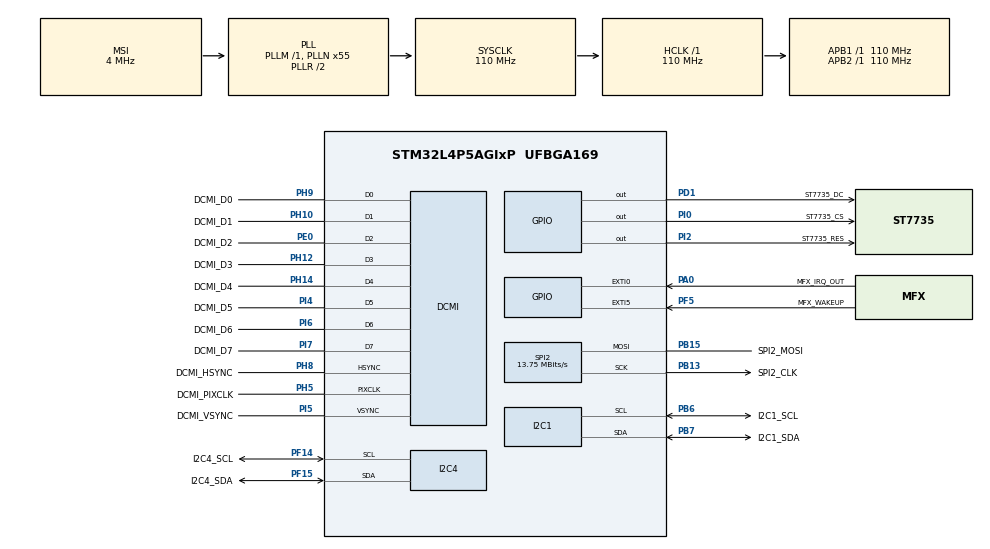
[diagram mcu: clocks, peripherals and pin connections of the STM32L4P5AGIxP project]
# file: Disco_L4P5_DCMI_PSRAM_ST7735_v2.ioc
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DCMI.HSPolarity=DCMI_HSPOLARITY_HIGH
DCMI.PCKPolarity=DCMI_PCKPOLARITY_RISING
DCMI.VSPolarity=DCMI_VSPOLARITY_HIGH
Dma.DCMI.1.Direction=DMA_PERIPH_TO_MEMORY
Dma.DCMI.1.EventEnable=DISABLE
Dma.DCMI.1.Instance=DMA2_Channel6
Dma.DCMI.1.MemDataAlignment=DMA_MDATAALIGN_WORD
Dma.DCMI.1.MemInc=DMA_MINC_ENABLE
Dma.DCMI.1.Mode=DMA_NORMAL
Dma.DCMI.1.PeriphDataAlignment=DMA_PDATAALIGN_WORD
Dma.DCMI.1.PeriphInc=DMA_PINC_DISABLE
Dma.DCMI.1.Polarity=HAL_DMAMUX_REQ_GEN_RISING
Dma.DCMI.1.Priority=DMA_PRIORITY_HIGH
Dma.DCMI.1.RequestNumber=1
Dma.DCMI.1.SignalID=NONE
Dma.DCMI.1.SyncEnable=DISABLE
Dma.DCMI.1.SyncPolarity=HAL_DMAMUX_SYNC_NO_EVENT
Dma.DCMI.1.SyncRequestNumber=1
Dma.DCMI.1.SyncSignalID=NONE
Dma.MEMTOMEM.0.Direction=DMA_MEMORY_TO_MEMORY
Dma.MEMTOMEM.0.EventEnable=DISABLE
Dma.MEMTOMEM.0.Instance=DMA1_Channel1
Dma.MEMTOMEM.0.MemDataAlignment=DMA_MDATAALIGN_BYTE
Dma.MEMTOMEM.0.MemInc=DMA_MINC_ENABLE
Dma.MEMTOMEM.0.Mode=DMA_NORMAL
Dma.MEMTOMEM.0.PeriphDataAlignment=DMA_PDATAALIGN_BYTE
Dma.MEMTOMEM.0.PeriphInc=DMA_PINC_ENABLE
Dma.MEMTOMEM.0.Polarity=HAL_DMAMUX_REQ_GEN_RISING
Dma.MEMTOMEM.0.Priority=DMA_PRIORITY_HIGH
Dma.MEMTOMEM.0.RequestNumber=1
Dma.MEMTOMEM.0.SignalID=NONE
Dma.MEMTOMEM.0.SyncEnable=DISABLE
Dma.MEMTOMEM.0.SyncPolarity=HAL_DMAMUX_SYNC_NO_EVENT
Dma.MEMTOMEM.0.SyncRequestNumber=1
Dma.MEMTOMEM.0.SyncSignalID=NONE
Dma.Request0=MEMTOMEM
Dma.Request1=DCMI
I2C1.Timing=0x40505681
I2C4.Timing=0x40505681
Mcu.Family=STM32L4
Mcu.Name=STM32L4P5AGIxP
Mcu.Package=UFBGA169
NVIC.DCMI_PSSI_IRQn=true\:0\:0\:false\:false\:true\:true\:true\:true
NVIC.DMA1_Channel1_IRQn=true\:0\:0\:false\:false\:true\:true\:true\:true
NVIC.DMA2_Channel6_IRQn=true\:0\:0\:false\:false\:true\:false\:true\:true
NVIC.PriorityGroup=NVIC_PRIORITYGROUP_4
PA0.GPIO_Label=MFX_IRQ_OUT
PA0.Signal=GPXTI0
PA13\ (JTMS/SWDIO).Mode=Serial_Wire
PA13\ (JTMS/SWDIO).Signal=SYS_JTMS-SWDIO
PA14\ (JTCK/SWCLK).Mode=Serial_Wire
PA14\ (JTCK/SWCLK).Signal=SYS_JTCK-SWCLK
PB13.GPIO_Label=SPI2_CLK
PB13.Mode=Simplex_Bidirectional_Master
PB13.Signal=SPI2_SCK
PB15.GPIO_Label=SPI2_MOSI
PB15.Mode=Simplex_Bidirectional_Master
PB15.Signal=SPI2_MOSI
PB6.GPIO_Label=I2C1_SCL
PB6.Mode=I2C
PB6.Signal=I2C1_SCL
PB7.GPIO_Label=I2C1_SDA
PB7.Mode=I2C
PB7.Signal=I2C1_SDA
PD1.GPIO_Label=ST7735_DC
PD1.Signal=GPIO_Output
PE0.GPIO_Label=DCMI_D2
PE0.Mode=Slave_8_bits_External_Synchro
PE0.Signal=DCMI_D2
PF14.GPIO_Label=I2C4_SCL
PF14.Mode=I2C
PF14.Signal=I2C4_SCL
PF15.GPIO_Label=I2C4_SDA
PF15.Mode=I2C
PF15.Signal=I2C4_SDA
PF5.GPIO_Label=MFX_WAKEUP
PF5.Signal=GPXTI5
PH10.GPIO_Label=DCMI_D1
PH10.Mode=Slave_8_bits_External_Synchro
PH10.Signal=DCMI_D1
PH12.GPIO_Label=DCMI_D3
PH12.Mode=Slave_8_bits_External_Synchro
PH12.Signal=DCMI_D3
PH14.GPIO_Label=DCMI_D4
PH14.Mode=Slave_8_bits_External_Synchro
PH14.Signal=DCMI_D4
PH5.GPIO_Label=DCMI_PIXCLK
PH5.Mode=Slave_8_bits_External_Synchro
PH5.Signal=DCMI_PIXCLK
PH8.GPIO_Label=DCMI_HSYNC
PH8.Mode=Slave_8_bits_External_Synchro
PH8.Signal=DCMI_HSYNC
PH9.GPIO_Label=DCMI_D0
PH9.Mode=Slave_8_bits_External_Synchro
PH9.Signal=DCMI_D0
PI0.GPIO_Label=ST7735_CS
PI0.Signal=GPIO_Output
PI2.GPIO_Label=ST7735_RES
PI2.Signal=GPIO_Output
PI3.GPIO_Label=DCMI_D10
PI3.Signal=DCMI_D10
PI4.GPIO_Label=DCMI_D5
PI4.Mode=Slave_8_bits_External_Synchro
PI4.Signal=DCMI_D5
PI5.GPIO_Label=DCMI_VSYNC
PI5.Mode=Slave_8_bits_External_Synchro
PI5.Signal=DCMI_VSYNC
PI6.GPIO_Label=DCMI_D6
PI6.Mode=Slave_8_bits_External_Synchro
PI6.Signal=DCMI_D6
PI7.GPIO_Label=DCMI_D7
PI7.Mode=Slave_8_bits_External_Synchro
PI7.Signal=DCMI_D7
ProjectManager.HeapSize=0x200
ProjectManager.StackSize=0x400
ProjectManager.TargetToolchain=STM32CubeIDE
RCC.ADCFreq_Value=110000000
RCC.AHBFreq_Value=110000000
RCC.APB1Freq_Value=110000000
RCC.APB1TimFreq_Value=110000000
RCC.APB2Freq_Value=110000000
RCC.APB2TimFreq_Value=110000000
RCC.CK48CLockSelection=RCC_USBCLKSOURCE_HSI48
RCC.CortexFreq_Value=110000000
RCC.HCLKFreq_Value=110000000
RCC.HSE_VALUE=24000000
RCC.HSI48_VALUE=48000000
RCC.HSI_VALUE=16000000
RCC.LSE_VALUE=32768
RCC.MSI_VALUE=4000000
RCC.PLLN=55
RCC.PLLP=RCC_PLLP_DIV7
RCC.PLLSAI1N=55
RCC.PLLSAI1P=RCC_PLLP_DIV7
RCC.PLLSAI2N=55
RCC.SYSCLKFreq_VALUE=110000000
RCC.SYSCLKSource=RCC_SYSCLKSOURCE_PLLCLK
RCC.USBFreq_Value=48000000
RCC.VCOOutputFreq_Value=220000000
SPI2.BaudRatePrescaler=SPI_BAUDRATEPRESCALER_8
SPI2.CalculateBaudRate=13.75 MBits/s
SPI2.DataSize=SPI_DATASIZE_8BIT
SPI2.Direction=SPI_DIRECTION_1LINE
SPI2.Mode=SPI_MODE_MASTER
SPI2.VirtualType=VM_MASTER
board=STM32L4P5G-DK

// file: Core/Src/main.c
/* USER CODE BEGIN Header */
/*
 *
Table 8. CN1 STMod+ connector pinout
Pin number Description Pin number Description
1   SPI1_NSS/USART3_CTS (PG5/PD11)      11  INT (PD10)
2   SPI1_MOSI/ USART3_TX (PG4/PD8)      12  RESET (PF11)
3   SPI1_MISO/ USART3_RX (PG3/PD9)      13  ADC (PA5)
4   SPI1_SCK/ USART3_RTS (PG2/PD12)     14  PWM (PG11)
5   GND                                 15 5V
6   5V                                  16 GND
7   I2C4_SCL (PF14)                     17 DFSDM1-CKOUT (PF10)
8   SPI1_MOSIs (PE15)                   18 DFSDM1- DATIN1 (PB12)
9   SPI1_MISOs (PE14)                   19 GPIO3 (PD0)
10  I2C4_SDA (PF15)                     20 GPIO4 (PD1)

It is SPI but with a single bidirectional pin e.g.
LED backlight, sometimes called BL. (it might be LED anode or cathode)
SDA bidirectional data pin. Connect to MOSI
SCK clock. sometimes called SCLK, SCL, ...
A0 data/command GPIO OUTPUT pin. sometimes called DC, RS, ...
RESET reset pin. you must connect. (or pullup)
CS chip select

ST7735 LCD SPI interface max baudrate is 15MHz for write and 6.66MHz for read
Since the provided driver doesn't use read capability from LCD, only constraint
on write baudrate is considered.

 */
/**
  ******************************************************************************
  * @file           : main.c
  * @brief          : Main program body
  ******************************************************************************
  * @attention
  *
  * Copyright (c) 2023 STMicroelectronics.
  * All rights reserved.
  *
  * This software is licensed under terms that can be found in the LICENSE file
  * in the root directory of this software component.
  * If no LICENSE file comes with this software, it is provided AS-IS.
  *
  ******************************************************************************
  */
/* USER CODE END Header */
#include "main.h"

/* USER CODE BEGIN Includes */
#include <stdio.h>
#include <string.h>
#include "st7735.h"
#include "fonts.h"
#include "testimg.h"
/* USER CODE END Includes */

/* USER CODE BEGIN PD */
#define USE_SRAM
//#define  CAMERA_WIDTH    ((uint16_t)320)
//#define  CAMERA_HEIGHT   ((uint16_t)240)

#define  CAMERA_WIDTH    ((uint16_t)160)
#define  CAMERA_HEIGHT   ((uint16_t)120)
/* USER CODE END PD */

DCMI_HandleTypeDef hdcmi;
DMA_HandleTypeDef hdma_dcmi;

I2C_HandleTypeDef hi2c1;
I2C_HandleTypeDef hi2c4;

SPI_HandleTypeDef hspi2;

DMA_HandleTypeDef hdma_memtomem_dma1_channel1;
/* USER CODE BEGIN PV */
extern DCMI_HandleTypeDef hDcmiHandler;
static volatile uint32_t start_the_camera_capture = 0;
uint16_t pBuffer[CAMERA_WIDTH * CAMERA_HEIGHT];

/* Buffer used for transmission */
uint8_t aTxBuffer[] = " ****Memory-mapped OSPI communication****  ****Memory-mapped OSPI communication****  ****Memory-mapped OSPI communication****  ****Memory-mapped OSPI communication****  ****Memory-mapped OSPI communication****  ****Memory-mapped OSPI communication**** ";

uint8_t reg[2];

uint32_t address = 0;
__IO uint8_t *mem_addr;
uint32_t delay, calibration_ongoing, test_failed;

static __IO uint32_t transferErrorDetected;    /* Set to 1 if an error transfer is detected */
static __IO uint32_t transferCompleteDetected; /* Set to 1 if transfer is correctly completed */

HAL_StatusTypeDef hal_status = HAL_OK;

static SPI_HandleTypeDef hdisco_Spi;
/* USER CODE END PV */

void SystemClock_Config(void);
static void MX_GPIO_Init(void);
static void MX_DMA_Init(void);
static void MX_I2C1_Init(void);
static void MX_I2C4_Init(void);
static void MX_SPI2_Init(void);
static void MX_DCMI_Init(void);
/* USER CODE BEGIN PFP */

static void TransferComplete(DMA_HandleTypeDef *DmaHandle);
static void TransferError(DMA_HandleTypeDef *DmaHandle);
static void OnError_Handler(uint32_t condition);

static void SPIx_Init(void);
static void SPIx_WriteReadData(const uint8_t *DataIn, uint8_t *DataOut, uint16_t DataLength);
static void SPIx_Write(uint8_t Value);
void LCD_Delay(uint32_t Delay);

/* USER CODE END PFP */

/* USER CODE BEGIN 0 */
// UART2 is connected to st-link
//int _write(int file, char *ptr, int len)
//{
//	HAL_UART_Transmit(&huart2,(uint8_t *)ptr,len,10);
//	return len;
//}
/* USER CODE END 0 */

int main(void)
{

  /* MCU Configuration--------------------------------------------------------*/

  /* Reset of all peripherals, Initializes the Flash interface and the Systick. */
  HAL_Init();

  /* Configure the system clock */
  SystemClock_Config();

  /* Initialize all configured peripherals */
  MX_GPIO_Init();
  MX_DMA_Init();
  MX_I2C1_Init();
  MX_I2C4_Init();
  MX_SPI2_Init();
  MX_DCMI_Init();
  /* USER CODE BEGIN 2 */
  MX_GPIO_Init();
  MX_SPI2_Init();
  ST7735_Init();

	ST7735_FillScreen(ST7735_BLACK);

//  BSP_LCD_Init();
//  uint32_t XSize= BSP_LCD_GetXSize();
//  uint32_t YSize= BSP_LCD_GetYSize();
//
//  BSP_LCD_DrawPixel(0, 0, LCD_RGB565_COLOR_RED);
//
//  BSP_LCD_SetBackColor(LCD_RGB565_COLOR_LIGHTBLUE);
//  BSP_LCD_SetTextColor(LCD_RGB565_COLOR_RED);
//  BSP_LCD_FillRect(0, 0, 100, 100);

  /*##-2- Initialize the LCD #################################################*/
   /*##-1- LEDs initialization  #################################################*/
   BSP_LED_Init(LED2);
   BSP_LED_Init(LED1);

   /* Initialize the IO functionalities */
   hal_status = BSP_IO_Init();
   OnError_Handler(hal_status != HAL_OK);

   hal_status = BSP_IO_ConfigPin(IO_PIN_3, IO_MODE_OUTPUT);
   OnError_Handler(hal_status != HAL_OK);

   BSP_IO_WritePin(IO_PIN_3, BSP_IO_PIN_SET);
   HAL_Delay(100);

   hal_status = BSP_IO_ConfigPin(IO_PIN_7, IO_MODE_INPUT);
   OnError_Handler(hal_status != HAL_OK);

   uint32_t val= BSP_IO_ReadPin(IO_PIN_7);
   printf("plugged %lu\n", val);

#define CAM
#ifdef CAM
	/*##-3- Camera Initialization ############################*/
	/* Initialize the Camera in QQVGA mode */
	hal_status = BSP_CAMERA_Init(CAMERA_R160x120);
	OnError_Handler(hal_status != HAL_OK);

	/* Wait 1s to let auto-loops in the camera module converge and lead to correct exposure */
	HAL_Delay(1000);

	/*##-4- Camera Continuous capture start in QVGA resolution ############################*/
	/* Disable unwanted HSYNC (IT_LINE)/VSYNC interrupts */
	__HAL_DCMI_DISABLE_IT(&hDcmiHandler, DCMI_IT_LINE | DCMI_IT_VSYNC);

	hal_status = HAL_DCMI_Start_DMA(&hDcmiHandler, DCMI_MODE_SNAPSHOT,  (uint32_t)(pBuffer) , CAMERA_WIDTH * CAMERA_HEIGHT/2 );
	/* ------------------------------------------------------------------------------------------- uint32_t size ---- */
	OnError_Handler(hal_status != HAL_OK);

	/*##-4- Line capture ############################*/
	printf("capture %lu\n", start_the_camera_capture);
	while(start_the_camera_capture == 0) {;}
	printf("capture %lu\n", start_the_camera_capture);

	for (uint16_t i=0; i<CAMERA_WIDTH; i++){
		for (uint16_t j=0; j<CAMERA_HEIGHT; j++){
			uint16_t color565 = pBuffer[j*CAMERA_WIDTH+i];
			//color565 = ((color565 & 0xFF00) >> 8) | ((color565 & 0xFF) << 8);
			ST7735_DrawPixel(i, j, color565);
		}
	}
	HAL_Delay(15000);

#endif

  /* USER CODE END 2 */

  /* Infinite loop */
  while (1)
  {

  }
}

void SystemClock_Config(void)
{
  RCC_OscInitTypeDef RCC_OscInitStruct = {0};
  RCC_ClkInitTypeDef RCC_ClkInitStruct = {0};

  /** Configure the main internal regulator output voltage
  */
  if (HAL_PWREx_ControlVoltageScaling(PWR_REGULATOR_VOLTAGE_SCALE1_BOOST) != HAL_OK)
  {
    Error_Handler();
  }

  /** Initializes the RCC Oscillators according to the specified parameters
  * in the RCC_OscInitTypeDef structure.
  */
  RCC_OscInitStruct.OscillatorType = RCC_OSCILLATORTYPE_MSI;
  RCC_OscInitStruct.MSIState = RCC_MSI_ON;
  RCC_OscInitStruct.MSICalibrationValue = 0;
  RCC_OscInitStruct.MSIClockRange = RCC_MSIRANGE_6;
  RCC_OscInitStruct.PLL.PLLState = RCC_PLL_ON;
  RCC_OscInitStruct.PLL.PLLSource = RCC_PLLSOURCE_MSI;
  RCC_OscInitStruct.PLL.PLLM = 1;
  RCC_OscInitStruct.PLL.PLLN = 55;
  RCC_OscInitStruct.PLL.PLLP = RCC_PLLP_DIV7;
  RCC_OscInitStruct.PLL.PLLQ = RCC_PLLQ_DIV2;
  RCC_OscInitStruct.PLL.PLLR = RCC_PLLR_DIV2;
  if (HAL_RCC_OscConfig(&RCC_OscInitStruct) != HAL_OK)
  {
    Error_Handler();
  }

  /** Initializes the CPU, AHB and APB buses clocks
  */
  RCC_ClkInitStruct.ClockType = RCC_CLOCKTYPE_HCLK|RCC_CLOCKTYPE_SYSCLK
                              |RCC_CLOCKTYPE_PCLK1|RCC_CLOCKTYPE_PCLK2;
  RCC_ClkInitStruct.SYSCLKSource = RCC_SYSCLKSOURCE_PLLCLK;
  RCC_ClkInitStruct.AHBCLKDivider = RCC_SYSCLK_DIV1;
  RCC_ClkInitStruct.APB1CLKDivider = RCC_HCLK_DIV1;
  RCC_ClkInitStruct.APB2CLKDivider = RCC_HCLK_DIV1;

  if (HAL_RCC_ClockConfig(&RCC_ClkInitStruct, FLASH_LATENCY_5) != HAL_OK)
  {
    Error_Handler();
  }
}

static void MX_DCMI_Init(void)
{

  hdcmi.Instance = DCMI;
  hdcmi.Init.SynchroMode = DCMI_SYNCHRO_HARDWARE;
  hdcmi.Init.PCKPolarity = DCMI_PCKPOLARITY_RISING;
  hdcmi.Init.VSPolarity = DCMI_VSPOLARITY_HIGH;
  hdcmi.Init.HSPolarity = DCMI_HSPOLARITY_HIGH;
  hdcmi.Init.CaptureRate = DCMI_CR_ALL_FRAME;
  hdcmi.Init.ExtendedDataMode = DCMI_EXTEND_DATA_8B;
  hdcmi.Init.JPEGMode = DCMI_JPEG_DISABLE;
  hdcmi.Init.ByteSelectMode = DCMI_BSM_ALL;
  hdcmi.Init.ByteSelectStart = DCMI_OEBS_ODD;
  hdcmi.Init.LineSelectMode = DCMI_LSM_ALL;
  hdcmi.Init.LineSelectStart = DCMI_OELS_ODD;
  if (HAL_DCMI_Init(&hdcmi) != HAL_OK)
  {
    Error_Handler();
  }

}

static void MX_I2C1_Init(void)
{

  hi2c1.Instance = I2C1;
  hi2c1.Init.Timing = 0x40505681;
  hi2c1.Init.OwnAddress1 = 0;
  hi2c1.Init.AddressingMode = I2C_ADDRESSINGMODE_7BIT;
  hi2c1.Init.DualAddressMode = I2C_DUALADDRESS_DISABLE;
  hi2c1.Init.OwnAddress2 = 0;
  hi2c1.Init.OwnAddress2Masks = I2C_OA2_NOMASK;
  hi2c1.Init.GeneralCallMode = I2C_GENERALCALL_DISABLE;
  hi2c1.Init.NoStretchMode = I2C_NOSTRETCH_DISABLE;
  if (HAL_I2C_Init(&hi2c1) != HAL_OK)
  {
    Error_Handler();
  }

  /** Configure Analogue filter
  */
  if (HAL_I2CEx_ConfigAnalogFilter(&hi2c1, I2C_ANALOGFILTER_ENABLE) != HAL_OK)
  {
    Error_Handler();
  }

  /** Configure Digital filter
  */
  if (HAL_I2CEx_ConfigDigitalFilter(&hi2c1, 0) != HAL_OK)
  {
    Error_Handler();
  }

}

static void MX_I2C4_Init(void)
{

  hi2c4.Instance = I2C4;
  hi2c4.Init.Timing = 0x40505681;
  hi2c4.Init.OwnAddress1 = 0;
  hi2c4.Init.AddressingMode = I2C_ADDRESSINGMODE_7BIT;
  hi2c4.Init.DualAddressMode = I2C_DUALADDRESS_DISABLE;
  hi2c4.Init.OwnAddress2 = 0;
  hi2c4.Init.OwnAddress2Masks = I2C_OA2_NOMASK;
  hi2c4.Init.GeneralCallMode = I2C_GENERALCALL_DISABLE;
  hi2c4.Init.NoStretchMode = I2C_NOSTRETCH_DISABLE;
  if (HAL_I2C_Init(&hi2c4) != HAL_OK)
  {
    Error_Handler();
  }

  /** Configure Analogue filter
  */
  if (HAL_I2CEx_ConfigAnalogFilter(&hi2c4, I2C_ANALOGFILTER_ENABLE) != HAL_OK)
  {
    Error_Handler();
  }

  /** Configure Digital filter
  */
  if (HAL_I2CEx_ConfigDigitalFilter(&hi2c4, 0) != HAL_OK)
  {
    Error_Handler();
  }

}

static void MX_SPI2_Init(void)
{

  /* SPI2 parameter configuration*/
  hspi2.Instance = SPI2;
  hspi2.Init.Mode = SPI_MODE_MASTER;
  hspi2.Init.Direction = SPI_DIRECTION_1LINE;
  hspi2.Init.DataSize = SPI_DATASIZE_8BIT;
  hspi2.Init.CLKPolarity = SPI_POLARITY_LOW;
  hspi2.Init.CLKPhase = SPI_PHASE_1EDGE;
  hspi2.Init.NSS = SPI_NSS_SOFT;
  hspi2.Init.BaudRatePrescaler = SPI_BAUDRATEPRESCALER_8;
  hspi2.Init.FirstBit = SPI_FIRSTBIT_MSB;
  hspi2.Init.TIMode = SPI_TIMODE_DISABLE;
  hspi2.Init.CRCCalculation = SPI_CRCCALCULATION_DISABLE;
  hspi2.Init.CRCPolynomial = 7;
  hspi2.Init.CRCLength = SPI_CRC_LENGTH_DATASIZE;
  hspi2.Init.NSSPMode = SPI_NSS_PULSE_ENABLE;
  if (HAL_SPI_Init(&hspi2) != HAL_OK)
  {
    Error_Handler();
  }

}

static void MX_DMA_Init(void)
{

  /* DMA controller clock enable */
  __HAL_RCC_DMAMUX1_CLK_ENABLE();
  __HAL_RCC_DMA1_CLK_ENABLE();
  __HAL_RCC_DMA2_CLK_ENABLE();

  /* Configure DMA request hdma_memtomem_dma1_channel1 on DMA1_Channel1 */
  hdma_memtomem_dma1_channel1.Instance = DMA1_Channel1;
  hdma_memtomem_dma1_channel1.Init.Request = DMA_REQUEST_MEM2MEM;
  hdma_memtomem_dma1_channel1.Init.Direction = DMA_MEMORY_TO_MEMORY;
  hdma_memtomem_dma1_channel1.Init.PeriphInc = DMA_PINC_ENABLE;
  hdma_memtomem_dma1_channel1.Init.MemInc = DMA_MINC_ENABLE;
  hdma_memtomem_dma1_channel1.Init.PeriphDataAlignment = DMA_PDATAALIGN_BYTE;
  hdma_memtomem_dma1_channel1.Init.MemDataAlignment = DMA_MDATAALIGN_BYTE;
  hdma_memtomem_dma1_channel1.Init.Mode = DMA_NORMAL;
  hdma_memtomem_dma1_channel1.Init.Priority = DMA_PRIORITY_HIGH;
  if (HAL_DMA_Init(&hdma_memtomem_dma1_channel1) != HAL_OK)
  {
    Error_Handler( );
  }

  /* DMA interrupt init */
  /* DMA1_Channel1_IRQn interrupt configuration */
  HAL_NVIC_SetPriority(DMA1_Channel1_IRQn, 0, 0);
  HAL_NVIC_EnableIRQ(DMA1_Channel1_IRQn);
  /* DMA2_Channel6_IRQn interrupt configuration */
  HAL_NVIC_SetPriority(DMA2_Channel6_IRQn, 0, 0);
  HAL_NVIC_EnableIRQ(DMA2_Channel6_IRQn);

}

static void MX_GPIO_Init(void)
{
  GPIO_InitTypeDef GPIO_InitStruct = {0};

  /* GPIO Ports Clock Enable */
  __HAL_RCC_GPIOI_CLK_ENABLE();
  __HAL_RCC_GPIOH_CLK_ENABLE();
  __HAL_RCC_GPIOE_CLK_ENABLE();
  __HAL_RCC_GPIOB_CLK_ENABLE();
  __HAL_RCC_GPIOA_CLK_ENABLE();
  __HAL_RCC_GPIOG_CLK_ENABLE();
  HAL_PWREx_EnableVddIO2();
  __HAL_RCC_GPIOD_CLK_ENABLE();
  __HAL_RCC_GPIOC_CLK_ENABLE();
  __HAL_RCC_GPIOF_CLK_ENABLE();

  /*Configure GPIO pin Output Level */
  HAL_GPIO_WritePin(GPIOI, ST7735_CS_Pin|ST7735_RES_Pin, GPIO_PIN_RESET);

  /*Configure GPIO pin Output Level */
  HAL_GPIO_WritePin(ST7735_DC_GPIO_Port, ST7735_DC_Pin, GPIO_PIN_RESET);

  /*Configure GPIO pins : PI10 PI9 PI1 PI11
                           PI8 */
  GPIO_InitStruct.Pin = GPIO_PIN_10|GPIO_PIN_9|GPIO_PIN_1|GPIO_PIN_11
                          |GPIO_PIN_8;
  GPIO_InitStruct.Mode = GPIO_MODE_ANALOG;
  GPIO_InitStruct.Pull = GPIO_NOPULL;
  HAL_GPIO_Init(GPIOI, &GPIO_InitStruct);

  /*Configure GPIO pins : PH2 PH15 PH13 PH7
                           PH3 PH6 PH0 PH1
                           PH4 */
  GPIO_InitStruct.Pin = GPIO_PIN_2|GPIO_PIN_15|GPIO_PIN_13|GPIO_PIN_7
                          |GPIO_PIN_3|GPIO_PIN_6|GPIO_PIN_0|GPIO_PIN_1
                          |GPIO_PIN_4;
  GPIO_InitStruct.Mode = GPIO_MODE_ANALOG;
  GPIO_InitStruct.Pull = GPIO_NOPULL;
  HAL_GPIO_Init(GPIOH, &GPIO_InitStruct);

  /*Configure GPIO pins : PB4 PB3 PB5 PB8
                           PB9 PB11 PB0 PB1
                           PB14 PB2 PB10 PB12 */
  GPIO_InitStruct.Pin = GPIO_PIN_4|GPIO_PIN_3|GPIO_PIN_5|GPIO_PIN_8
                          |GPIO_PIN_9|GPIO_PIN_11|GPIO_PIN_0|GPIO_PIN_1
                          |GPIO_PIN_14|GPIO_PIN_2|GPIO_PIN_10|GPIO_PIN_12;
  GPIO_InitStruct.Mode = GPIO_MODE_ANALOG;
  GPIO_InitStruct.Pull = GPIO_NOPULL;
  HAL_GPIO_Init(GPIOB, &GPIO_InitStruct);

  /*Configure GPIO pins : PA15 PA12 PA11 PA10
                           PA9 PA8 PA5 PA4
                           PA7 PA3 PA6 PA2
                           PA1 */
  GPIO_InitStruct.Pin = GPIO_PIN_15|GPIO_PIN_12|GPIO_PIN_11|GPIO_PIN_10
                          |GPIO_PIN_9|GPIO_PIN_8|GPIO_PIN_5|GPIO_PIN_4
                          |GPIO_PIN_7|GPIO_PIN_3|GPIO_PIN_6|GPIO_PIN_2
                          |GPIO_PIN_1;
  GPIO_InitStruct.Mode = GPIO_MODE_ANALOG;
  GPIO_InitStruct.Pull = GPIO_NOPULL;
  HAL_GPIO_Init(GPIOA, &GPIO_InitStruct);

  /*Configure GPIO pins : ST7735_CS_Pin ST7735_RES_Pin */
  GPIO_InitStruct.Pin = ST7735_CS_Pin|ST7735_RES_Pin;
  GPIO_InitStruct.Mode = GPIO_MODE_OUTPUT_PP;
  GPIO_InitStruct.Pull = GPIO_NOPULL;
  GPIO_InitStruct.Speed = GPIO_SPEED_FREQ_LOW;
  HAL_GPIO_Init(GPIOI, &GPIO_InitStruct);

  /*Configure GPIO pins : PE1 PE4 PE3 PE2
                           PE6 PE5 PE10 PE9
                           PE15 PE8 PE14 PE7
                           PE13 PE12 PE11 */
  GPIO_InitStruct.Pin = GPIO_PIN_1|GPIO_PIN_4|GPIO_PIN_3|GPIO_PIN_2
                          |GPIO_PIN_6|GPIO_PIN_5|GPIO_PIN_10|GPIO_PIN_9
                          |GPIO_PIN_15|GPIO_PIN_8|GPIO_PIN_14|GPIO_PIN_7
                          |GPIO_PIN_13|GPIO_PIN_12|GPIO_PIN_11;
  GPIO_InitStruct.Mode = GPIO_MODE_ANALOG;
  GPIO_InitStruct.Pull = GPIO_NOPULL;
  HAL_GPIO_Init(GPIOE, &GPIO_InitStruct);

  /*Configure GPIO pins : PG9 PG10 PG11 PG12
                           PG14 PG13 PG6 PG1
                           PG8 PG7 PG0 PG5
                           PG4 PG3 PG2 */
  GPIO_InitStruct.Pin = GPIO_PIN_9|GPIO_PIN_10|GPIO_PIN_11|GPIO_PIN_12
                          |GPIO_PIN_14|GPIO_PIN_13|GPIO_PIN_6|GPIO_PIN_1
                          |GPIO_PIN_8|GPIO_PIN_7|GPIO_PIN_0|GPIO_PIN_5
                          |GPIO_PIN_4|GPIO_PIN_3|GPIO_PIN_2;
  GPIO_InitStruct.Mode = GPIO_MODE_ANALOG;
  GPIO_InitStruct.Pull = GPIO_NOPULL;
  HAL_GPIO_Init(GPIOG, &GPIO_InitStruct);

  /*Configure GPIO pins : PD0 PD4 PD5 PD2
                           PD6 PD3 PD7 PD15
                           PD10 PD14 PD12 PD11
                           PD13 PD9 PD8 */
  GPIO_InitStruct.Pin = GPIO_PIN_0|GPIO_PIN_4|GPIO_PIN_5|GPIO_PIN_2
                          |GPIO_PIN_6|GPIO_PIN_3|GPIO_PIN_7|GPIO_PIN_15
                          |GPIO_PIN_10|GPIO_PIN_14|GPIO_PIN_12|GPIO_PIN_11
                          |GPIO_PIN_13|GPIO_PIN_9|GPIO_PIN_8;
  GPIO_InitStruct.Mode = GPIO_MODE_ANALOG;
  GPIO_InitStruct.Pull = GPIO_NOPULL;
  HAL_GPIO_Init(GPIOD, &GPIO_InitStruct);

  /*Configure GPIO pin : ST7735_DC_Pin */
  GPIO_InitStruct.Pin = ST7735_DC_Pin;
  GPIO_InitStruct.Mode = GPIO_MODE_OUTPUT_PP;
  GPIO_InitStruct.Pull = GPIO_NOPULL;
  GPIO_InitStruct.Speed = GPIO_SPEED_FREQ_LOW;
  HAL_GPIO_Init(ST7735_DC_GPIO_Port, &GPIO_InitStruct);

  /*Configure GPIO pins : PC10 PC13 PC11 PC14
                           PC12 PC6 PC15 PC9
                           PC8 PC7 PC4 PC0
                           PC1 PC2 PC5 PC3 */
  GPIO_InitStruct.Pin = GPIO_PIN_10|GPIO_PIN_13|GPIO_PIN_11|GPIO_PIN_14
                          |GPIO_PIN_12|GPIO_PIN_6|GPIO_PIN_15|GPIO_PIN_9
                          |GPIO_PIN_8|GPIO_PIN_7|GPIO_PIN_4|GPIO_PIN_0
                          |GPIO_PIN_1|GPIO_PIN_2|GPIO_PIN_5|GPIO_PIN_3;
  GPIO_InitStruct.Mode = GPIO_MODE_ANALOG;
  GPIO_InitStruct.Pull = GPIO_NOPULL;
  HAL_GPIO_Init(GPIOC, &GPIO_InitStruct);

  /*Configure GPIO pins : PF2 PF1 PF0 PF3
                           PF4 PF10 PF11 PF13
                           PF12 */
  GPIO_InitStruct.Pin = GPIO_PIN_2|GPIO_PIN_1|GPIO_PIN_0|GPIO_PIN_3
                          |GPIO_PIN_4|GPIO_PIN_10|GPIO_PIN_11|GPIO_PIN_13
                          |GPIO_PIN_12;
  GPIO_InitStruct.Mode = GPIO_MODE_ANALOG;
  GPIO_InitStruct.Pull = GPIO_NOPULL;
  HAL_GPIO_Init(GPIOF, &GPIO_InitStruct);

  /*Configure GPIO pin : MFX_WAKEUP_Pin */
  GPIO_InitStruct.Pin = MFX_WAKEUP_Pin;
  GPIO_InitStruct.Mode = GPIO_MODE_IT_RISING;
  GPIO_InitStruct.Pull = GPIO_NOPULL;
  HAL_GPIO_Init(MFX_WAKEUP_GPIO_Port, &GPIO_InitStruct);

  /*Configure GPIO pin : MFX_IRQ_OUT_Pin */
  GPIO_InitStruct.Pin = MFX_IRQ_OUT_Pin;
  GPIO_InitStruct.Mode = GPIO_MODE_IT_RISING;
  GPIO_InitStruct.Pull = GPIO_NOPULL;
  HAL_GPIO_Init(MFX_IRQ_OUT_GPIO_Port, &GPIO_InitStruct);

}

/* USER CODE BEGIN 4 */

/**
  * @brief  Initialize SPI HAL.
  * @retval None
  */
static void SPIx_Init(void)
{
  if (HAL_SPI_GetState(&hdisco_Spi) == HAL_SPI_STATE_RESET)
  {
    /* SPI Config */
    /* SPI baudrate is set to 13.75 MHz maximum (SPI_BaudRatePrescaler = 8)
     to verify these constraints:
        - ST7735 LCD SPI interface max baudrate is 15MHz for write and 6.66MHz for read
          Since the provided driver doesn't use read capability from LCD, only constraint
          on write baudrate is considered.
     */
	  hdisco_Spi.Instance = SPI1;
	  hdisco_Spi.Init.Mode = SPI_MODE_MASTER;
	  hdisco_Spi.Init.Direction = SPI_DIRECTION_2LINES;
	  hdisco_Spi.Init.DataSize = SPI_DATASIZE_8BIT;
	  hdisco_Spi.Init.CLKPolarity = SPI_POLARITY_HIGH;
	  hdisco_Spi.Init.CLKPhase = SPI_PHASE_2EDGE;
	  hdisco_Spi.Init.NSS = SPI_NSS_SOFT;
	  hdisco_Spi.Init.BaudRatePrescaler = SPI_BAUDRATEPRESCALER_8;
	  hdisco_Spi.Init.FirstBit = SPI_FIRSTBIT_MSB;
	  hdisco_Spi.Init.TIMode = SPI_TIMODE_DISABLE;
	  hdisco_Spi.Init.CRCCalculation = SPI_CRCCALCULATION_DISABLE;
	  hdisco_Spi.Init.CRCPolynomial = 7;
	  hdisco_Spi.Init.CRCLength = SPI_CRC_LENGTH_DATASIZE;
	  hdisco_Spi.Init.NSSPMode = SPI_NSS_PULSE_DISABLE;
    if (HAL_SPI_Init(&hdisco_Spi) != HAL_OK)
    {
      Error_Handler();
    }
  }
}

/**
  * @brief  SPI Write byte(s) to device
  * @param  DataIn: Pointer to data buffer to write
  * @param  DataOut: Pointer to data buffer for read data
  * @param  DataLength: number of bytes to write
  * @retval None
  */
static void SPIx_WriteReadData(const uint8_t *DataIn, uint8_t *DataOut, uint16_t DataLength)
{
  HAL_StatusTypeDef status = HAL_OK;
  status = HAL_SPI_TransmitReceive(&hdisco_Spi, (uint8_t *) DataIn, DataOut, DataLength, DISCO_SPIx_TIMEOUT_MAX);

  /* Check the communication status */
  if (status != HAL_OK)
  {
    /* Execute user timeout callback */
      Error_Handler();
  }
}

/**
  * @brief  SPI Write a byte to device
  * @param  Value: value to be written
  * @retval None
  */
static void SPIx_Write(uint8_t Value)
{
  HAL_StatusTypeDef status = HAL_OK;
  uint8_t data;

  status = HAL_SPI_TransmitReceive(&hdisco_Spi, (uint8_t *) &Value, &data, 1, DISCO_SPIx_TIMEOUT_MAX);

  /* Check the communication status */
  if (status != HAL_OK)
  {
    /* Execute user timeout callback */
      Error_Handler();
  }
}

/**
  * @brief  Initialize the LCD
  * @retval None
  */
void LCD_IO_Init(void)
{
  GPIO_InitTypeDef  GPIO_InitStruct = {0};

  /* LCD_CS_GPIO and LCD_DC_GPIO Periph clock enable */
  LCD_CS_GPIO_CLK_ENABLE();
  LCD_DC_GPIO_CLK_ENABLE();

  /* Configure LCD_CS_PIN pin: LCD Card CS pin */
  GPIO_InitStruct.Pin    = LCD_CS_PIN;
  GPIO_InitStruct.Mode   = GPIO_MODE_OUTPUT_PP;
  GPIO_InitStruct.Pull   = GPIO_NOPULL;
  GPIO_InitStruct.Speed  = GPIO_SPEED_FREQ_VERY_HIGH;
  HAL_GPIO_Init(LCD_CS_GPIO_PORT, &GPIO_InitStruct);

  /* Configure LCD_DC_PIN pin: LCD Card DC pin */
  GPIO_InitStruct.Pin    = LCD_DC_PIN;
  HAL_GPIO_Init(LCD_DC_GPIO_PORT, &GPIO_InitStruct);

  /* LCD chip select high */
  LCD_CS_HIGH();

  /* LCD SPI Config */
  SPIx_Init();
}

/**
  * @brief  Write command to select the LCD register.
  * @param  LCDReg: Address of the selected register.
  * @retval None
  */
void LCD_IO_WriteReg(uint8_t LCDReg)
{
  /* Reset LCD control line CS */
  LCD_CS_LOW();

  /* Set LCD data/command line DC to Low */
  LCD_DC_LOW();

  /* Send Command */
  SPIx_Write(LCDReg);

  /* Deselect : Chip Select high */
  LCD_CS_HIGH();
}

/**
* @brief  Write register value.
* @param  pData Pointer on the register value
* @param  Size Size of byte to transmit to the register
* @retval None
*/
void LCD_IO_WriteMultipleData(uint8_t *pData, uint32_t Size)
{
  uint32_t counter = 0;
  __IO uint32_t data = 0;

  /* Reset LCD control line CS */
  LCD_CS_LOW();

  /* Set LCD data/command line DC to High */
  LCD_DC_HIGH();

  if (Size == 1)
  {
    /* Only 1 byte to be sent to LCD - general interface can be used */
    /* Send Data */
    SPIx_Write(*pData);
  }
  else
  {
    /* Several data should be sent in a raw */
    /* Direct SPI accesses for optimization */
    for (counter = Size; counter != 0; counter--)
    {
      while (((hdisco_Spi.Instance->SR) & SPI_FLAG_TXE) != SPI_FLAG_TXE)
      {
      }
      /* Need to invert bytes for LCD*/
      *((__IO uint8_t *)&hdisco_Spi.Instance->DR) = *(pData + 1);

      while (((hdisco_Spi.Instance->SR) & SPI_FLAG_TXE) != SPI_FLAG_TXE)
      {
      }
      *((__IO uint8_t *)&hdisco_Spi.Instance->DR) = *pData;
      counter--;
      pData += 2;
    }

    /* Wait until the bus is ready before releasing Chip select */
    while (((hdisco_Spi.Instance->SR) & SPI_FLAG_BSY) != RESET)
    {
    }
  }

  /* Empty the Rx fifo */
  data = *(&hdisco_Spi.Instance->DR);
  UNUSED(data);  /* Remove GNU warning */

  /* Deselect : Chip Select high */
  LCD_CS_HIGH();
}

/**
  * @brief  Wait for loop in ms.
  * @param  Delay in ms.
  * @retval None
  */
void LCD_Delay(uint32_t Delay)
{
  HAL_Delay(Delay);
}

/**
 * @brief  Camera Frame Event callback.
 */
void BSP_CAMERA_FrameEventCallback(void)
{
	start_the_camera_capture = 1;
}

/**
  * @brief  DMA conversion complete callback
  * @note   This function is executed when the transfer complete interrupt
  *         is generated
  * @retval None
  */
static void TransferComplete(DMA_HandleTypeDef *DmaHandle)
{
  transferCompleteDetected = 1;
}

/**
  * @brief  DMA conversion error callback
  * @note   This function is executed when the transfer error interrupt
  *         is generated during DMA transfer
  * @retval None
  */
static void TransferError(DMA_HandleTypeDef *DmaHandle)
{
  transferErrorDetected = 1;
}

/**
 * @brief  On Error Handler on condition TRUE.
 * @param  condition : Can be TRUE or FALSE
 * @retval None
 */
static void OnError_Handler(uint32_t condition)
{
	if(condition)
	{
		BSP_LED_On(LED1);
		while(1) { ; } /* Blocking on error */
	}
}

/* USER CODE END 4 */

void Error_Handler(void)
{
  __disable_irq();
  while (1)
  {
  }
}
